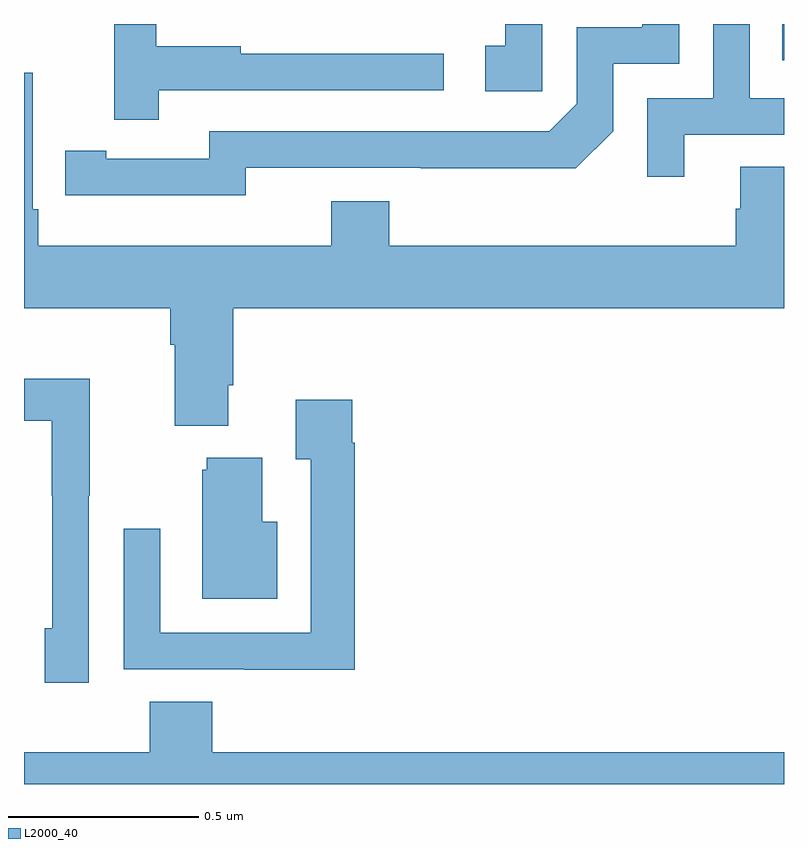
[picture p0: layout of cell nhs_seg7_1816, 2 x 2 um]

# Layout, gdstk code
import gdstk
lib = gdstk.Library(unit=1e-6, precision=1e-09)
def R(c, l, rs):  # rectangles x0, y0, x1, y1
    for r in rs: c.add(gdstk.rectangle(r[:2], r[2:], *l))
def P(c, l, *ps):  # polygons
    for p in ps: c.add(gdstk.Polygon(p, *l))
L2000_40 = (2000, 40)

nhs_seg7_1816 = lib.new_cell('nhs_seg7_1816')
R(nhs_seg7_1816, L2000_40, [(137.995,1031.904,138,1032)])
P(nhs_seg7_1816, L2000_40, [(137.737,1031.709),(138,1031.709),(138,1031.805),(137.91,1031.805),(137.91,1032),(137.814,1032),(137.814,1031.805),(137.64,1031.805),(137.64,1031.598),(137.737,1031.598)],
  [(137.364,1032),(137.267,1032),(137.267,1031.943),(137.214,1031.943),(137.214,1031.823),(137.364,1031.823)],
  [(136.584,1031.622),(137.044,1031.622),(137.044,1031.621),(137.452,1031.621),(137.55,1031.718),(137.55,1031.895),(137.724,1031.895),(137.724,1032),(137.627,1032),(137.627,1031.991),(137.454,1031.991),(137.454,1031.79),(137.382,1031.718),(136.488,1031.718),(136.488,1031.646),(136.216,1031.646),(136.216,1031.666),(136.108,1031.666),(136.108,1031.55),(136.216,1031.55),(136.216,1031.549),(136.584,1031.549)],
  [(136.355,1031.826),(137.104,1031.826),(137.104,1031.922),(136.571,1031.922),(136.571,1031.942),(136.348,1031.942),(136.348,1032),(136.238,1032),(136.238,1031.748),(136.355,1031.748)],
  [(136.537,1031.05),(136.55,1031.05),(136.55,1031.252),(138,1031.252),(138,1031.624),(137.885,1031.624),(137.885,1031.514),(137.873,1031.514),(137.873,1031.416),(136.961,1031.416),(136.961,1031.533),(136.808,1031.533),(136.808,1031.416),(136.037,1031.416),(136.037,1031.512),(136.023,1031.512),(136.023,1031.872),(136,1031.872),(136,1031.252),(136.385,1031.252),(136.385,1031.156),(136.397,1031.156),(136.397,1030.943),(136.537,1030.943)],
  [(136.17,1030.759),(136.173,1030.759),(136.173,1031.066),(136,1031.066),(136,1030.956),(136.073,1030.956),(136.073,1030.759),(136.074,1030.759),(136.074,1030.41),(136.055,1030.41),(136.055,1030.266),(136.17,1030.266)],
  [(136.871,1030.898),(136.864,1030.898),(136.864,1031.011),(136.715,1031.011),(136.715,1030.855),(136.755,1030.855),(136.755,1030.398),(136.359,1030.398),(136.359,1030.672),(136.263,1030.672),(136.263,1030.302),(136.579,1030.302),(136.579,1030.301),(136.871,1030.301)],
  [(136.666,1030.69),(136.627,1030.69),(136.627,1030.858),(136.481,1030.858),(136.481,1030.827),(136.469,1030.827),(136.469,1030.487),(136.666,1030.487)],
  [(138,1030.084),(136.496,1030.084),(136.496,1030.217),(136.331,1030.217),(136.331,1030.084),(136,1030.084),(136,1030),(138,1030)])

lib.write_gds('nhs_seg7_1816.gds')
